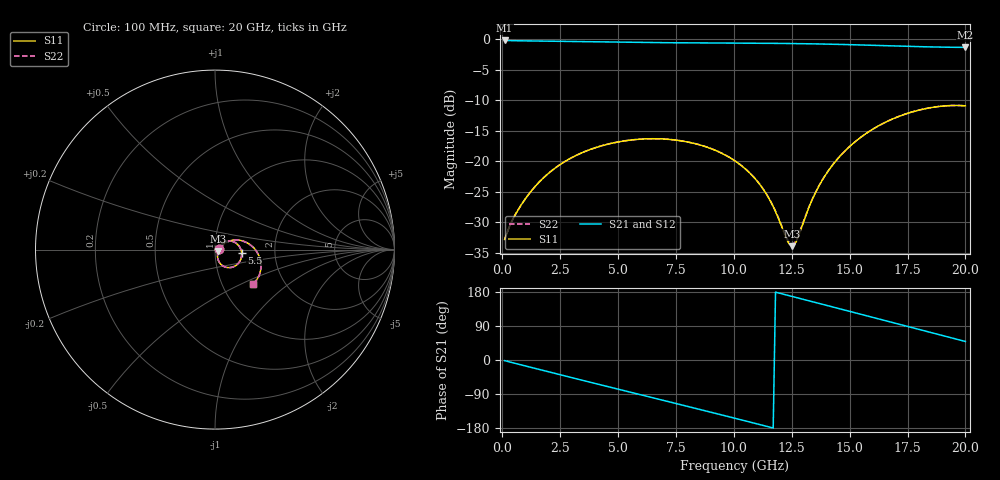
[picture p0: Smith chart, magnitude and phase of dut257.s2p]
! Touchstone file exported from HFSS 2026.1.0
!  File:  C:/ffzhzh/LocalFiles/Ansys_Project_Files/temp_train_TSV_RDL_257_1783068783_17544.aedt
!  Generated:  05:00:19 PM Jul  3, 2026
!  Design:  TSV_RDL
!  Project:  temp_train_TSV_RDL_257_1783068783_17544
! Variables:
!  h_bsmrdl = 3.64um
!  h_ox = 20um
!  h_rdl = 5um
!  h_sub = 98.41um
!  h_tmrdl = 5.67um
!  h_tsv = 98.41um
!  h_via = 3um
!  l_bsmrdl = 908.69um
!  l_sub = 4228.5um
!  l_tmrdl = 246.08um
!  m_sub = 200um
!  pitch = 29.81um
!  r_tsv = 12.91um
!  s_tmrdl = 10um
!  w_bsmrdl = 14.2um
!  w_sub = 500um
!  w_tmrdl = 25.17um
!  x_tsv_center1 = 258.665um
!  x_tsv_center2 = 1181.555um
!  x_tsv_center3 = 1452.805um
!  x_tsv_center4 = 2375.695um
!  x_tsv_center5 = 2646.945um
!  x_tsv_center6 = 3569.835um
# GHz S MA R 50.000000
! Terminal data exported
! Port[1] = TM_RDL1_1_T1
! Port[2] = TM_RDL5_1_T1
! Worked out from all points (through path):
!   200 points, 100 MHz to 20 GHz, reference 50 ohm
!   highest |S21| = -0.19 dB at 100 MHz (marker M1); lowest = -1.3 dB at 20 GHz (marker M2)
!   group delay of S21, straight-line fit = 43.1 ps
!   lowest |S11| = -33.9 dB at 12.5 GHz (marker M3), VSWR 1.04, Z = 51.9 - j0.805 ohm
!   |S11| at or under -10 dB: start of sweep to end of sweep
!   |S22| runs from -33.6 to -10.8 dB; largest |S21 - S12| = 1.6e-14
!   S11 on the Smith chart (normalised r, x): 100 MHz: 1.05, +0.01; 5.5 GHz: 1.35, -0.05; 20 GHz: 1.40, -0.58
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0.1  0.02289 13.0  0.9778 -1.7  0.9778 -1.7  0.02289 13.0
! Gamma 0 0 0 0
! Port Impedance 50 0 50 0
0.6  0.03773 34.3  0.9724 -9.6  0.9724 -9.6  0.03773 34.3
1.5  0.06483 38.6  0.9674 -23.5  0.9674 -23.5  0.06483 38.6
2.4  0.09147 31.9  0.962 -37.4  0.962 -37.4  0.09148 31.9
3.5  0.1189 19.3  0.955 -54.2  0.955 -54.2  0.1189 19.3
4.5  0.1375 6.6  0.949 -69.4  0.949 -69.4  0.1375 6.6
5.5  0.1491 -6.5  0.9436 -84.5  0.9436 -84.5  0.1492 -6.5
6.8  0.1529 -23.8  0.9382 -104.2  0.9382 -104.2  0.1529 -23.7
8.4  0.1385 -44.6  0.9336 -128.5  0.9336 -128.5  0.1386 -44.5
10.1  0.09935 -64.8  0.9303 -154.5  0.9303 -154.5  0.09946 -64.6
11.3  0.05795 -73.2  0.9274 -173.2  0.9274 -173.2  0.05816 -72.7
11.8  0.03879 -69.4  0.9258 179.0  0.9258 179.0  0.03912 -68.6
12.3  0.02262 -44.7  0.9237 171.2  0.9237 171.2  0.02324 -44.0
12.5  0.02019 -22.6  0.9228 168.0  0.9228 168.0  0.02091 -22.5
12.7  0.02218 0.8  0.9218 164.9  0.9218 164.9  0.02285 -0.0
13.4  0.04928 32.0  0.9175 153.8  0.9175 153.8  0.04963 31.1
14  0.07949 32.7  0.9129 144.3  0.9129 144.3  0.07973 32.0
14.7  0.1164 27.2  0.9066 133.1  0.9066 133.1  0.1166 26.7
15.7  0.1685 15.7  0.896 117.2  0.896 117.2  0.1686 15.3
16.7  0.2157 2.8  0.8843 101.4  0.8843 101.4  0.2159 2.4
18.3  0.2709 -18.9  0.8672 76.1  0.8672 76.1  0.271 -19.2
20  0.2849 -42.1  0.8582 48.9  0.8582 48.9  0.285 -42.4
